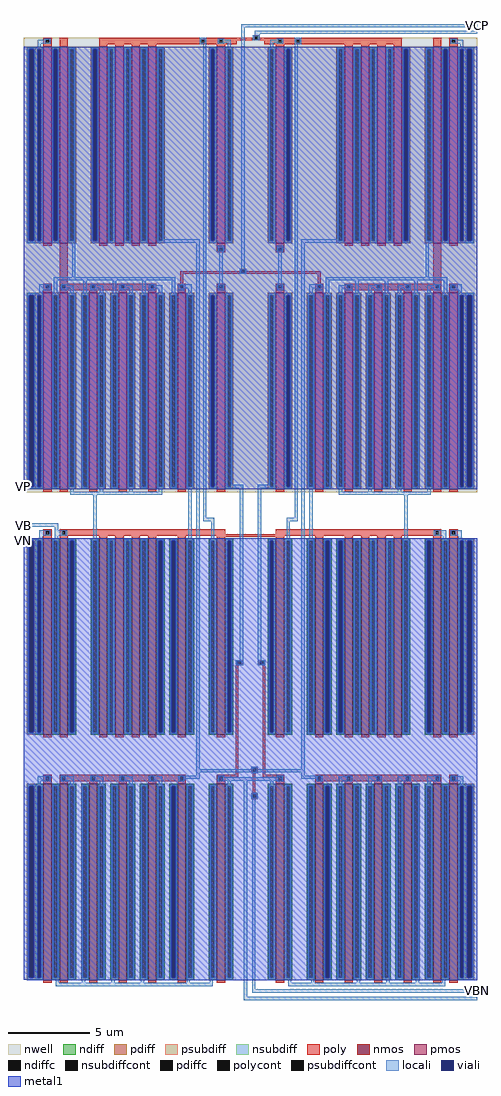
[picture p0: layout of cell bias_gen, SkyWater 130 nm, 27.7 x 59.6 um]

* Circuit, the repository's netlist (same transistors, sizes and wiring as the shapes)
* NGSPICE file created from bias_gen.ext - technology: sky130A

X0 a_4180_9000# VBP a_3980_9000# VP sky130_fd_pr__pfet_01v8 ad=3 pd=12.5 as=3 ps=12.5 w=12 l=0.5
X1 a_3420_6000# a_3580_6000# a_3580_6000# VP sky130_fd_pr__pfet_01v8 ad=3 pd=12.5 as=6 ps=25 w=12 l=0.5
X2 VN VB VB VN sky130_fd_pr__nfet_01v8 ad=6 pd=25 as=3 ps=12.5 w=12 l=0.5
X3 a_3780_3000# VB VN VN sky130_fd_pr__nfet_01v8 ad=3 pd=12.5 as=6 ps=25 w=12 l=0.5
X4 VN VN a_2940_0# VN sky130_fd_pr__nfet_01v8 ad=6 pd=25 as=3 ps=12.5 w=12 l=0.5
X5 VCP VCP a_100_6000# VP sky130_fd_pr__pfet_01v8 ad=6 pd=25 as=6 ps=25 w=12 l=0.5
X6 VN VB VBP VN sky130_fd_pr__nfet_01v8 ad=6 pd=25 as=6 ps=25 w=12 l=0.5
X7 VP VP VP VP sky130_fd_pr__pfet_01v8 ad=6 pd=25 as=72 ps=300 w=12 l=0.5
X8 a_3980_9000# VBP a_3780_9000# VP sky130_fd_pr__pfet_01v8 ad=3 pd=12.5 as=3 ps=12.5 w=12 l=0.5
X9 a_100_0# VN VN VN sky130_fd_pr__nfet_01v8 ad=3 pd=12.5 as=6 ps=25 w=12 l=0.5
X10 a_980_3000# VB a_780_3000# VN sky130_fd_pr__nfet_01v8 ad=3 pd=12.5 as=3 ps=12.5 w=12 l=0.5
X11 VN VB a_1180_3000# VN sky130_fd_pr__nfet_01v8 ad=6 pd=25 as=3 ps=12.5 w=12 l=0.5
X12 a_200_5970# a_200_5970# a_100_6000# VP sky130_fd_pr__pfet_01v8 ad=6 pd=25 as=6 ps=25 w=12 l=0.5
X13 a_100_6000# VP VP VP sky130_fd_pr__pfet_01v8 ad=3 pd=12.5 as=6 ps=25 w=12 l=0.5
X14 a_3420_6000# VCP VCP VP sky130_fd_pr__pfet_01v8 ad=6 pd=25 as=6 ps=25 w=12 l=0.5
X15 a_780_9000# VBP VP VP sky130_fd_pr__pfet_01v8 ad=3 pd=12.5 as=6 ps=25 w=12 l=0.5
X16 a_1180_9000# VBP a_980_9000# VP sky130_fd_pr__pfet_01v8 ad=3 pd=12.5 as=3 ps=12.5 w=12 l=0.5
X17 a_3420_6000# a_3580_6000# a_3580_6000# VP sky130_fd_pr__pfet_01v8 ad=6 pd=25 as=6 ps=25 w=12 l=0.5
X18 VCN VCN a_100_0# VN sky130_fd_pr__nfet_01v8 ad=6 pd=25 as=6 ps=25 w=12 l=0.5
X19 VB VB VN VN sky130_fd_pr__nfet_01v8 ad=3 pd=12.5 as=6 ps=25 w=12 l=0.5
X20 VBN VBN a_100_0# VN sky130_fd_pr__nfet_01v8 ad=6 pd=25 as=3 ps=12.5 w=12 l=0.5
X21 VP VP VP VP sky130_fd_pr__pfet_01v8 ad=3 pd=12.5 as=0 ps=0 w=12 l=0.5
X22 VCP VB VN VN sky130_fd_pr__nfet_01v8 ad=6 pd=25 as=6 ps=25 w=12 l=0.5
X23 a_100_0# VBN VN VN sky130_fd_pr__nfet_01v8 ad=6 pd=25 as=6 ps=25 w=12 l=0.5
X24 a_4180_3000# VB a_3980_3000# VN sky130_fd_pr__nfet_01v8 ad=3 pd=12.5 as=3 ps=12.5 w=12 l=0.5
X25 VN VBN a_2940_0# VN sky130_fd_pr__nfet_01v8 ad=6 pd=25 as=6 ps=25 w=12 l=0.5
X26 a_2940_0# VBN VBN VN sky130_fd_pr__nfet_01v8 ad=6 pd=25 as=6 ps=25 w=12 l=0.5
X27 VP VBP VBP VP sky130_fd_pr__pfet_01v8 ad=6 pd=25 as=6 ps=25 w=12 l=0.5
X28 a_200_5970# a_200_5970# a_100_6000# VP sky130_fd_pr__pfet_01v8 ad=6 pd=25 as=6 ps=25 w=12 l=0.5
X29 VP VBP a_4180_9000# VP sky130_fd_pr__pfet_01v8 ad=6 pd=25 as=3 ps=12.5 w=12 l=0.5
X30 VP VP a_3420_6000# VP sky130_fd_pr__pfet_01v8 ad=6 pd=25 as=3 ps=12.5 w=12 l=0.5
X31 a_2940_0# VCN VCN VN sky130_fd_pr__nfet_01v8 ad=6 pd=25 as=6 ps=25 w=12 l=0.5
X32 VP VBP VCN VP sky130_fd_pr__pfet_01v8 ad=6 pd=25 as=6 ps=25 w=12 l=0.5
X33 a_3420_6000# a_3580_6000# a_3580_6000# VP sky130_fd_pr__pfet_01v8 ad=6 pd=25 as=6 ps=25 w=12 l=0.5
X34 VBN VBN a_100_0# VN sky130_fd_pr__nfet_01v8 ad=6 pd=25 as=6 ps=25 w=12 l=0.5
X35 VBN VBN a_100_0# VN sky130_fd_pr__nfet_01v8 ad=6 pd=25 as=6 ps=25 w=12 l=0.5
X36 VB VN VN VN sky130_fd_pr__nfet_01v8 ad=3 pd=12.5 as=6 ps=25 w=12 l=0.5
X37 VN VB VCP VN sky130_fd_pr__nfet_01v8 ad=6 pd=25 as=6 ps=25 w=12 l=0.5
X38 a_3980_3000# VB a_3780_3000# VN sky130_fd_pr__nfet_01v8 ad=3 pd=12.5 as=3 ps=12.5 w=12 l=0.5
X39 a_2940_0# VBN VBN VN sky130_fd_pr__nfet_01v8 ad=6 pd=25 as=6 ps=25 w=12 l=0.5
X40 a_100_6000# a_200_5970# VP VP sky130_fd_pr__pfet_01v8 ad=6 pd=25 as=3 ps=12.5 w=12 l=0.5
X41 a_3780_9000# VBP VBN VP sky130_fd_pr__pfet_01v8 ad=3 pd=12.5 as=6 ps=25 w=12 l=0.5
X42 a_780_3000# VB a_200_5970# VN sky130_fd_pr__nfet_01v8 ad=3 pd=12.5 as=6 ps=25 w=12 l=0.5
X43 a_1180_3000# VB a_980_3000# VN sky130_fd_pr__nfet_01v8 ad=3 pd=12.5 as=3 ps=12.5 w=12 l=0.5
X44 VBN VBN a_100_0# VN sky130_fd_pr__nfet_01v8 ad=6 pd=25 as=6 ps=25 w=12 l=0.5
X45 VBP VBP VP VP sky130_fd_pr__pfet_01v8 ad=6 pd=25 as=6 ps=25 w=12 l=0.5
X46 a_2940_0# VBN VBN VN sky130_fd_pr__nfet_01v8 ad=3 pd=12.5 as=6 ps=25 w=12 l=0.5
X47 a_200_5970# a_200_5970# a_100_6000# VP sky130_fd_pr__pfet_01v8 ad=6 pd=25 as=3 ps=12.5 w=12 l=0.5
X48 a_3420_6000# a_3580_6000# a_3580_6000# VP sky130_fd_pr__pfet_01v8 ad=6 pd=25 as=6 ps=25 w=12 l=0.5
X49 a_2940_0# VBN VBN VN sky130_fd_pr__nfet_01v8 ad=6 pd=25 as=6 ps=25 w=12 l=0.5
X50 a_980_9000# VBP a_780_9000# VP sky130_fd_pr__pfet_01v8 ad=3 pd=12.5 as=3 ps=12.5 w=12 l=0.5
X51 VBN VBP a_1180_9000# VP sky130_fd_pr__pfet_01v8 ad=6 pd=25 as=3 ps=12.5 w=12 l=0.5
X52 VN VN VB VN sky130_fd_pr__nfet_01v8 ad=6 pd=25 as=3 ps=12.5 w=12 l=0.5
X53 VCN VBP VP VP sky130_fd_pr__pfet_01v8 ad=6 pd=25 as=6 ps=25 w=12 l=0.5
X54 VBP VB VN VN sky130_fd_pr__nfet_01v8 ad=6 pd=25 as=6 ps=25 w=12 l=0.5
X55 a_200_5970# a_200_5970# a_100_6000# VP sky130_fd_pr__pfet_01v8 ad=6 pd=25 as=6 ps=25 w=12 l=0.5
X56 VP a_3580_6000# a_3420_6000# VP sky130_fd_pr__pfet_01v8 ad=3 pd=12.5 as=6 ps=25 w=12 l=0.5
X57 a_3580_6000# VB a_4180_3000# VN sky130_fd_pr__nfet_01v8 ad=6 pd=25 as=3 ps=12.5 w=12 l=0.5

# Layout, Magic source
magic
tech sky130A
<< nwell >>
rect -120 2980 2650 5755
<< nmos >>
rect 0 1500 50 2700
rect 100 1500 150 2700
rect 340 1500 390 2700
rect 440 1500 490 2700
rect 540 1500 590 2700
rect 640 1500 690 2700
rect 820 1500 870 2700
rect 1060 1500 1110 2700
rect 0 0 50 1200
rect 100 0 150 1200
rect 280 0 330 1200
rect 460 0 510 1200
rect 640 0 690 1200
rect 820 0 870 1200
rect 1060 0 1110 1200
rect 1420 1500 1470 2700
rect 1660 1500 1710 2700
rect 1840 1500 1890 2700
rect 1940 1500 1990 2700
rect 2040 1500 2090 2700
rect 2140 1500 2190 2700
rect 2380 1500 2430 2700
rect 2480 1500 2530 2700
rect 1420 0 1470 1200
rect 1660 0 1710 1200
rect 1840 0 1890 1200
rect 2020 0 2070 1200
rect 2200 0 2250 1200
rect 2380 0 2430 1200
rect 2480 0 2530 1200
<< pmos >>
rect 0 4500 50 5700
rect 100 4500 150 5700
rect 340 4500 390 5700
rect 440 4500 490 5700
rect 540 4500 590 5700
rect 640 4500 690 5700
rect 1060 4500 1110 5700
rect 1420 4500 1470 5700
rect 1840 4500 1890 5700
rect 1940 4500 1990 5700
rect 2040 4500 2090 5700
rect 2140 4500 2190 5700
rect 2380 4500 2430 5700
rect 2480 4500 2530 5700
rect 0 3000 50 4200
rect 100 3000 150 4200
rect 280 3000 330 4200
rect 460 3000 510 4200
rect 640 3000 690 4200
rect 820 3000 870 4200
rect 1060 3000 1110 4200
rect 1420 3000 1470 4200
rect 1660 3000 1710 4200
rect 1840 3000 1890 4200
rect 2020 3000 2070 4200
rect 2200 3000 2250 4200
rect 2380 3000 2430 4200
rect 2480 3000 2530 4200
<< ndiff >>
rect -50 2685 0 2700
rect -50 1515 -35 2685
rect -15 1515 0 2685
rect -50 1500 0 1515
rect 50 2685 100 2700
rect 50 1515 65 2685
rect 85 1515 100 2685
rect 50 1500 100 1515
rect 150 2685 200 2700
rect 150 1515 165 2685
rect 185 1515 200 2685
rect 150 1500 200 1515
rect 290 2685 340 2700
rect 290 1515 305 2685
rect 325 1515 340 2685
rect 290 1500 340 1515
rect 390 2685 440 2700
rect 390 1515 405 2685
rect 425 1515 440 2685
rect 390 1500 440 1515
rect 490 2685 540 2700
rect 490 1515 505 2685
rect 525 1515 540 2685
rect 490 1500 540 1515
rect 590 2685 640 2700
rect 590 1515 605 2685
rect 625 1515 640 2685
rect 590 1500 640 1515
rect 690 2685 740 2700
rect 690 1515 705 2685
rect 725 1515 740 2685
rect 690 1500 740 1515
rect 770 2685 820 2700
rect 770 1515 785 2685
rect 805 1515 820 2685
rect 770 1500 820 1515
rect 870 2685 920 2700
rect 870 1515 885 2685
rect 905 1515 920 2685
rect 870 1500 920 1515
rect 1010 2685 1060 2700
rect 1010 1515 1025 2685
rect 1045 1515 1060 2685
rect 1010 1500 1060 1515
rect 1110 2685 1160 2700
rect 1110 1515 1125 2685
rect 1145 1515 1160 2685
rect 1370 2685 1420 2700
rect 1110 1500 1160 1515
rect -50 1185 0 1200
rect -50 15 -35 1185
rect -15 15 0 1185
rect -50 0 0 15
rect 50 1185 100 1200
rect 50 15 65 1185
rect 85 15 100 1185
rect 50 0 100 15
rect 150 1185 200 1200
rect 150 15 165 1185
rect 185 15 200 1185
rect 150 0 200 15
rect 230 1185 280 1200
rect 230 15 245 1185
rect 265 15 280 1185
rect 230 0 280 15
rect 330 1185 380 1200
rect 330 15 345 1185
rect 365 15 380 1185
rect 330 0 380 15
rect 410 1185 460 1200
rect 410 15 425 1185
rect 445 15 460 1185
rect 410 0 460 15
rect 510 1185 560 1200
rect 510 15 525 1185
rect 545 15 560 1185
rect 510 0 560 15
rect 590 1185 640 1200
rect 590 15 605 1185
rect 625 15 640 1185
rect 590 0 640 15
rect 690 1185 740 1200
rect 690 15 705 1185
rect 725 15 740 1185
rect 690 0 740 15
rect 770 1185 820 1200
rect 770 15 785 1185
rect 805 15 820 1185
rect 770 0 820 15
rect 870 1185 920 1200
rect 870 15 885 1185
rect 905 15 920 1185
rect 870 0 920 15
rect 1010 1185 1060 1200
rect 1010 15 1025 1185
rect 1045 15 1060 1185
rect 1010 0 1060 15
rect 1110 1185 1160 1200
rect 1110 15 1125 1185
rect 1145 15 1160 1185
rect 1370 1515 1385 2685
rect 1405 1515 1420 2685
rect 1370 1500 1420 1515
rect 1470 2685 1520 2700
rect 1470 1515 1485 2685
rect 1505 1515 1520 2685
rect 1470 1500 1520 1515
rect 1610 2685 1660 2700
rect 1610 1515 1625 2685
rect 1645 1515 1660 2685
rect 1610 1500 1660 1515
rect 1710 2685 1760 2700
rect 1710 1515 1725 2685
rect 1745 1515 1760 2685
rect 1710 1500 1760 1515
rect 1790 2685 1840 2700
rect 1790 1515 1805 2685
rect 1825 1515 1840 2685
rect 1790 1500 1840 1515
rect 1890 2685 1940 2700
rect 1890 1515 1905 2685
rect 1925 1515 1940 2685
rect 1890 1500 1940 1515
rect 1990 2685 2040 2700
rect 1990 1515 2005 2685
rect 2025 1515 2040 2685
rect 1990 1500 2040 1515
rect 2090 2685 2140 2700
rect 2090 1515 2105 2685
rect 2125 1515 2140 2685
rect 2090 1500 2140 1515
rect 2190 2685 2240 2700
rect 2190 1515 2205 2685
rect 2225 1515 2240 2685
rect 2190 1500 2240 1515
rect 2330 2685 2380 2700
rect 2330 1515 2345 2685
rect 2365 1515 2380 2685
rect 2330 1500 2380 1515
rect 2430 2685 2480 2700
rect 2430 1515 2445 2685
rect 2465 1515 2480 2685
rect 2430 1500 2480 1515
rect 2530 2685 2580 2700
rect 2530 1515 2545 2685
rect 2565 1515 2580 2685
rect 2530 1500 2580 1515
rect 1370 1185 1420 1200
rect 1110 0 1160 15
rect 1370 15 1385 1185
rect 1405 15 1420 1185
rect 1370 0 1420 15
rect 1470 1185 1520 1200
rect 1470 15 1485 1185
rect 1505 15 1520 1185
rect 1470 0 1520 15
rect 1610 1185 1660 1200
rect 1610 15 1625 1185
rect 1645 15 1660 1185
rect 1610 0 1660 15
rect 1710 1185 1760 1200
rect 1710 15 1725 1185
rect 1745 15 1760 1185
rect 1710 0 1760 15
rect 1790 1185 1840 1200
rect 1790 15 1805 1185
rect 1825 15 1840 1185
rect 1790 0 1840 15
rect 1890 1185 1940 1200
rect 1890 15 1905 1185
rect 1925 15 1940 1185
rect 1890 0 1940 15
rect 1970 1185 2020 1200
rect 1970 15 1985 1185
rect 2005 15 2020 1185
rect 1970 0 2020 15
rect 2070 1185 2120 1200
rect 2070 15 2085 1185
rect 2105 15 2120 1185
rect 2070 0 2120 15
rect 2150 1185 2200 1200
rect 2150 15 2165 1185
rect 2185 15 2200 1185
rect 2150 0 2200 15
rect 2250 1185 2300 1200
rect 2250 15 2265 1185
rect 2285 15 2300 1185
rect 2250 0 2300 15
rect 2330 1185 2380 1200
rect 2330 15 2345 1185
rect 2365 15 2380 1185
rect 2330 0 2380 15
rect 2430 1185 2480 1200
rect 2430 15 2445 1185
rect 2465 15 2480 1185
rect 2430 0 2480 15
rect 2530 1185 2580 1200
rect 2530 15 2545 1185
rect 2565 15 2580 1185
rect 2530 0 2580 15
<< pdiff >>
rect -50 5685 0 5700
rect -50 4515 -35 5685
rect -15 4515 0 5685
rect -50 4500 0 4515
rect 50 5685 100 5700
rect 50 4515 65 5685
rect 85 4515 100 5685
rect 50 4500 100 4515
rect 150 5685 200 5700
rect 150 4515 165 5685
rect 185 4515 200 5685
rect 150 4500 200 4515
rect 290 5685 340 5700
rect 290 4515 305 5685
rect 325 4515 340 5685
rect 290 4500 340 4515
rect 390 5685 440 5700
rect 390 4515 405 5685
rect 425 4515 440 5685
rect 390 4500 440 4515
rect 490 5685 540 5700
rect 490 4515 505 5685
rect 525 4515 540 5685
rect 490 4500 540 4515
rect 590 5685 640 5700
rect 590 4515 605 5685
rect 625 4515 640 5685
rect 590 4500 640 4515
rect 690 5685 740 5700
rect 690 4515 705 5685
rect 725 4515 740 5685
rect 690 4500 740 4515
rect 1010 5685 1060 5700
rect 1010 4515 1025 5685
rect 1045 4515 1060 5685
rect 1010 4500 1060 4515
rect 1110 5685 1160 5700
rect 1110 4515 1125 5685
rect 1145 4515 1160 5685
rect 1110 4500 1160 4515
rect 1370 5685 1420 5700
rect 1370 4515 1385 5685
rect 1405 4515 1420 5685
rect 1370 4500 1420 4515
rect 1470 5685 1520 5700
rect 1470 4515 1485 5685
rect 1505 4515 1520 5685
rect 1470 4500 1520 4515
rect 1790 5685 1840 5700
rect 1790 4515 1805 5685
rect 1825 4515 1840 5685
rect 1790 4500 1840 4515
rect 1890 5685 1940 5700
rect 1890 4515 1905 5685
rect 1925 4515 1940 5685
rect 1890 4500 1940 4515
rect 1990 5685 2040 5700
rect 1990 4515 2005 5685
rect 2025 4515 2040 5685
rect 1990 4500 2040 4515
rect 2090 5685 2140 5700
rect 2090 4515 2105 5685
rect 2125 4515 2140 5685
rect 2090 4500 2140 4515
rect 2190 5685 2240 5700
rect 2190 4515 2205 5685
rect 2225 4515 2240 5685
rect 2190 4500 2240 4515
rect 2330 5685 2380 5700
rect 2330 4515 2345 5685
rect 2365 4515 2380 5685
rect 2330 4500 2380 4515
rect 2430 5685 2480 5700
rect 2430 4515 2445 5685
rect 2465 4515 2480 5685
rect 2430 4500 2480 4515
rect 2530 5685 2580 5700
rect 2530 4515 2545 5685
rect 2565 4515 2580 5685
rect 2530 4500 2580 4515
rect -50 4185 0 4200
rect -50 3015 -35 4185
rect -15 3015 0 4185
rect -50 3000 0 3015
rect 50 4185 100 4200
rect 50 3015 65 4185
rect 85 3015 100 4185
rect 50 3000 100 3015
rect 150 4185 200 4200
rect 150 3015 165 4185
rect 185 3015 200 4185
rect 150 3000 200 3015
rect 230 4185 280 4200
rect 230 3015 245 4185
rect 265 3015 280 4185
rect 230 3000 280 3015
rect 330 4185 380 4200
rect 330 3015 345 4185
rect 365 3015 380 4185
rect 330 3000 380 3015
rect 410 4185 460 4200
rect 410 3015 425 4185
rect 445 3015 460 4185
rect 410 3000 460 3015
rect 510 4185 560 4200
rect 510 3015 525 4185
rect 545 3015 560 4185
rect 510 3000 560 3015
rect 590 4185 640 4200
rect 590 3015 605 4185
rect 625 3015 640 4185
rect 590 3000 640 3015
rect 690 4185 740 4200
rect 690 3015 705 4185
rect 725 3015 740 4185
rect 690 3000 740 3015
rect 770 4185 820 4200
rect 770 3015 785 4185
rect 805 3015 820 4185
rect 770 3000 820 3015
rect 870 4185 920 4200
rect 870 3015 885 4185
rect 905 3015 920 4185
rect 870 3000 920 3015
rect 1010 4185 1060 4200
rect 1010 3015 1025 4185
rect 1045 3015 1060 4185
rect 1010 3000 1060 3015
rect 1110 4185 1160 4200
rect 1110 3015 1125 4185
rect 1145 3015 1160 4185
rect 1110 3000 1160 3015
rect 1370 4185 1420 4200
rect 1370 3015 1385 4185
rect 1405 3015 1420 4185
rect 1370 3000 1420 3015
rect 1470 4185 1520 4200
rect 1470 3015 1485 4185
rect 1505 3015 1520 4185
rect 1470 3000 1520 3015
rect 1610 4185 1660 4200
rect 1610 3015 1625 4185
rect 1645 3015 1660 4185
rect 1610 3000 1660 3015
rect 1710 4185 1760 4200
rect 1710 3015 1725 4185
rect 1745 3015 1760 4185
rect 1710 3000 1760 3015
rect 1790 4185 1840 4200
rect 1790 3015 1805 4185
rect 1825 3015 1840 4185
rect 1790 3000 1840 3015
rect 1890 4185 1940 4200
rect 1890 3015 1905 4185
rect 1925 3015 1940 4185
rect 1890 3000 1940 3015
rect 1970 4185 2020 4200
rect 1970 3015 1985 4185
rect 2005 3015 2020 4185
rect 1970 3000 2020 3015
rect 2070 4185 2120 4200
rect 2070 3015 2085 4185
rect 2105 3015 2120 4185
rect 2070 3000 2120 3015
rect 2150 4185 2200 4200
rect 2150 3015 2165 4185
rect 2185 3015 2200 4185
rect 2150 3000 2200 3015
rect 2250 4185 2300 4200
rect 2250 3015 2265 4185
rect 2285 3015 2300 4185
rect 2250 3000 2300 3015
rect 2330 4185 2380 4200
rect 2330 3015 2345 4185
rect 2365 3015 2380 4185
rect 2330 3000 2380 3015
rect 2430 4185 2480 4200
rect 2430 3015 2445 4185
rect 2465 3015 2480 4185
rect 2430 3000 2480 3015
rect 2530 4185 2580 4200
rect 2530 3015 2545 4185
rect 2565 3015 2580 4185
rect 2530 3000 2580 3015
<< ndiffc >>
rect -35 1515 -15 2685
rect 65 1515 85 2685
rect 165 1515 185 2685
rect 305 1515 325 2685
rect 405 1515 425 2685
rect 505 1515 525 2685
rect 605 1515 625 2685
rect 705 1515 725 2685
rect 785 1515 805 2685
rect 885 1515 905 2685
rect 1025 1515 1045 2685
rect 1125 1515 1145 2685
rect -35 15 -15 1185
rect 65 15 85 1185
rect 165 15 185 1185
rect 245 15 265 1185
rect 345 15 365 1185
rect 425 15 445 1185
rect 525 15 545 1185
rect 605 15 625 1185
rect 705 15 725 1185
rect 785 15 805 1185
rect 885 15 905 1185
rect 1025 15 1045 1185
rect 1125 15 1145 1185
rect 1385 1515 1405 2685
rect 1485 1515 1505 2685
rect 1625 1515 1645 2685
rect 1725 1515 1745 2685
rect 1805 1515 1825 2685
rect 1905 1515 1925 2685
rect 2005 1515 2025 2685
rect 2105 1515 2125 2685
rect 2205 1515 2225 2685
rect 2345 1515 2365 2685
rect 2445 1515 2465 2685
rect 2545 1515 2565 2685
rect 1385 15 1405 1185
rect 1485 15 1505 1185
rect 1625 15 1645 1185
rect 1725 15 1745 1185
rect 1805 15 1825 1185
rect 1905 15 1925 1185
rect 1985 15 2005 1185
rect 2085 15 2105 1185
rect 2165 15 2185 1185
rect 2265 15 2285 1185
rect 2345 15 2365 1185
rect 2445 15 2465 1185
rect 2545 15 2565 1185
<< pdiffc >>
rect -35 4515 -15 5685
rect 65 4515 85 5685
rect 165 4515 185 5685
rect 305 4515 325 5685
rect 405 4515 425 5685
rect 505 4515 525 5685
rect 605 4515 625 5685
rect 705 4515 725 5685
rect 1025 4515 1045 5685
rect 1125 4515 1145 5685
rect 1385 4515 1405 5685
rect 1485 4515 1505 5685
rect 1805 4515 1825 5685
rect 1905 4515 1925 5685
rect 2005 4515 2025 5685
rect 2105 4515 2125 5685
rect 2205 4515 2225 5685
rect 2345 4515 2365 5685
rect 2445 4515 2465 5685
rect 2545 4515 2565 5685
rect -35 3015 -15 4185
rect 65 3015 85 4185
rect 165 3015 185 4185
rect 245 3015 265 4185
rect 345 3015 365 4185
rect 425 3015 445 4185
rect 525 3015 545 4185
rect 605 3015 625 4185
rect 705 3015 725 4185
rect 785 3015 805 4185
rect 885 3015 905 4185
rect 1025 3015 1045 4185
rect 1125 3015 1145 4185
rect 1385 3015 1405 4185
rect 1485 3015 1505 4185
rect 1625 3015 1645 4185
rect 1725 3015 1745 4185
rect 1805 3015 1825 4185
rect 1905 3015 1925 4185
rect 1985 3015 2005 4185
rect 2085 3015 2105 4185
rect 2165 3015 2185 4185
rect 2265 3015 2285 4185
rect 2345 3015 2365 4185
rect 2445 3015 2465 4185
rect 2545 3015 2565 4185
<< psubdiff >>
rect -100 2685 -50 2700
rect -100 1515 -85 2685
rect -60 1515 -50 2685
rect -100 1500 -50 1515
rect -100 1185 -50 1200
rect -100 15 -85 1185
rect -60 15 -50 1185
rect -100 0 -50 15
rect 2580 2685 2630 2700
rect 2580 1515 2590 2685
rect 2615 1515 2630 2685
rect 2580 1500 2630 1515
rect 2580 1185 2630 1200
rect 2580 15 2590 1185
rect 2615 15 2630 1185
rect 2580 0 2630 15
<< nsubdiff >>
rect -100 5685 -50 5700
rect -100 4515 -85 5685
rect -60 4515 -50 5685
rect -100 4500 -50 4515
rect 2580 5685 2630 5700
rect 2580 4515 2590 5685
rect 2615 4515 2630 5685
rect 2580 4500 2630 4515
rect -100 4185 -50 4200
rect -100 3015 -85 4185
rect -60 3015 -50 4185
rect -100 3000 -50 3015
rect 2580 4185 2630 4200
rect 2580 3015 2590 4185
rect 2615 3015 2630 4185
rect 2580 3000 2630 3015
<< psubdiffcont >>
rect -85 1515 -60 2685
rect -85 15 -60 1185
rect 2590 1515 2615 2685
rect 2590 15 2615 1185
<< nsubdiffcont >>
rect -85 4515 -60 5685
rect 2590 4515 2615 5685
rect -85 3015 -60 4185
rect 2590 3015 2615 4185
<< poly >>
rect 1280 5765 1320 5770
rect 1280 5755 1290 5765
rect 0 5745 50 5755
rect 0 5725 15 5745
rect 35 5725 50 5745
rect 0 5700 50 5725
rect 100 5700 150 5755
rect 340 5745 1290 5755
rect 1310 5755 1320 5765
rect 1310 5745 2190 5755
rect 340 5725 965 5745
rect 985 5725 1075 5745
rect 1095 5740 1435 5745
rect 1095 5725 1180 5740
rect 340 5715 1180 5725
rect 1350 5725 1435 5740
rect 1455 5725 1545 5745
rect 1565 5725 2190 5745
rect 1350 5715 2190 5725
rect 340 5700 390 5715
rect 440 5700 490 5715
rect 540 5700 590 5715
rect 640 5700 690 5715
rect 1060 5700 1110 5715
rect 1420 5700 1470 5715
rect 1840 5700 1890 5715
rect 1940 5700 1990 5715
rect 2040 5700 2090 5715
rect 2140 5700 2190 5715
rect 2380 5700 2430 5755
rect 2480 5745 2530 5755
rect 2480 5725 2495 5745
rect 2515 5725 2530 5745
rect 2480 5700 2530 5725
rect 0 4485 50 4500
rect 100 4255 150 4500
rect 340 4485 390 4500
rect 440 4485 490 4500
rect 540 4485 590 4500
rect 640 4485 690 4500
rect 1060 4475 1110 4500
rect 1060 4455 1075 4475
rect 1095 4455 1110 4475
rect 1060 4445 1110 4455
rect 1420 4475 1470 4500
rect 1840 4485 1890 4500
rect 1940 4485 1990 4500
rect 2040 4485 2090 4500
rect 2140 4485 2190 4500
rect 1420 4455 1435 4475
rect 1455 4455 1470 4475
rect 1420 4445 1470 4455
rect 1200 4340 1240 4345
rect 1200 4330 1210 4340
rect 835 4320 1210 4330
rect 1230 4330 1240 4340
rect 1230 4320 1695 4330
rect 835 4315 1695 4320
rect 835 4255 855 4315
rect 1675 4255 1695 4315
rect 2380 4255 2430 4500
rect 2480 4485 2530 4500
rect 0 4245 50 4255
rect 0 4225 15 4245
rect 35 4225 50 4245
rect 0 4200 50 4225
rect 100 4245 690 4255
rect 100 4225 115 4245
rect 135 4225 295 4245
rect 315 4225 475 4245
rect 495 4225 655 4245
rect 675 4225 690 4245
rect 100 4215 690 4225
rect 100 4200 150 4215
rect 280 4200 330 4215
rect 460 4200 510 4215
rect 640 4200 690 4215
rect 820 4245 870 4255
rect 820 4225 835 4245
rect 855 4225 870 4245
rect 820 4200 870 4225
rect 1060 4245 1110 4255
rect 1060 4225 1075 4245
rect 1095 4225 1110 4245
rect 1060 4200 1110 4225
rect 1420 4245 1470 4255
rect 1420 4225 1435 4245
rect 1455 4225 1470 4245
rect 1420 4200 1470 4225
rect 1660 4245 1710 4255
rect 1660 4225 1675 4245
rect 1695 4225 1710 4245
rect 1660 4200 1710 4225
rect 1840 4245 2430 4255
rect 1840 4225 1855 4245
rect 1875 4225 2035 4245
rect 2055 4225 2215 4245
rect 2235 4225 2395 4245
rect 2415 4225 2430 4245
rect 1840 4215 2430 4225
rect 1840 4200 1890 4215
rect 2020 4200 2070 4215
rect 2200 4200 2250 4215
rect 2380 4200 2430 4215
rect 2480 4245 2530 4255
rect 2480 4225 2495 4245
rect 2515 4225 2530 4245
rect 2480 4200 2530 4225
rect 0 2985 50 3000
rect 100 2985 150 3000
rect 280 2985 330 3000
rect 460 2985 510 3000
rect 640 2985 690 3000
rect 820 2985 870 3000
rect 1060 2985 1110 3000
rect 1420 2985 1470 3000
rect 1660 2985 1710 3000
rect 1840 2985 1890 3000
rect 2020 2985 2070 3000
rect 2200 2985 2250 3000
rect 2380 2985 2430 3000
rect 2480 2985 2530 3000
rect 0 2745 50 2755
rect 0 2720 15 2745
rect 35 2720 50 2745
rect 0 2700 50 2720
rect 100 2745 1110 2755
rect 100 2720 115 2745
rect 135 2725 1110 2745
rect 1420 2745 2430 2755
rect 1420 2725 2395 2745
rect 135 2720 2395 2725
rect 2415 2720 2430 2745
rect 100 2715 2430 2720
rect 100 2700 150 2715
rect 340 2700 390 2715
rect 440 2700 490 2715
rect 540 2700 590 2715
rect 640 2700 690 2715
rect 820 2700 870 2715
rect 1060 2710 1470 2715
rect 1060 2700 1110 2710
rect 1420 2700 1470 2710
rect 1660 2700 1710 2715
rect 1840 2700 1890 2715
rect 1940 2700 1990 2715
rect 2040 2700 2090 2715
rect 2140 2700 2190 2715
rect 2380 2700 2430 2715
rect 2480 2745 2530 2755
rect 2480 2720 2495 2745
rect 2515 2720 2530 2745
rect 2480 2700 2530 2720
rect 1175 1950 1220 1955
rect 1175 1930 1185 1950
rect 1210 1930 1220 1950
rect 1175 1925 1220 1930
rect 1310 1950 1355 1955
rect 1310 1930 1320 1950
rect 1345 1930 1355 1950
rect 1310 1925 1355 1930
rect 0 1485 50 1500
rect 100 1485 150 1500
rect 340 1485 390 1500
rect 440 1485 490 1500
rect 540 1485 590 1500
rect 640 1485 690 1500
rect 820 1485 870 1500
rect 1060 1485 1110 1500
rect 1175 1255 1190 1925
rect 1270 1295 1310 1305
rect 1270 1275 1280 1295
rect 1300 1275 1310 1295
rect 1270 1265 1310 1275
rect 0 1245 50 1255
rect 0 1220 15 1245
rect 35 1220 50 1245
rect 0 1200 50 1220
rect 100 1245 870 1255
rect 100 1220 115 1245
rect 135 1220 295 1245
rect 315 1220 475 1245
rect 495 1220 655 1245
rect 675 1220 835 1245
rect 855 1220 870 1245
rect 100 1215 870 1220
rect 100 1200 150 1215
rect 280 1200 330 1215
rect 460 1200 510 1215
rect 640 1200 690 1215
rect 820 1200 870 1215
rect 1060 1245 1190 1255
rect 1060 1220 1075 1245
rect 1095 1240 1190 1245
rect 1095 1220 1110 1240
rect 1060 1200 1110 1220
rect 1280 1145 1295 1265
rect 1340 1255 1355 1925
rect 1420 1485 1470 1500
rect 1660 1485 1710 1500
rect 1840 1485 1890 1500
rect 1940 1485 1990 1500
rect 2040 1485 2090 1500
rect 2140 1485 2190 1500
rect 2380 1485 2430 1500
rect 2480 1485 2530 1500
rect 1340 1245 1470 1255
rect 1340 1240 1435 1245
rect 1420 1220 1435 1240
rect 1455 1220 1470 1245
rect 1420 1200 1470 1220
rect 1660 1245 2430 1255
rect 1660 1220 1675 1245
rect 1695 1220 1855 1245
rect 1875 1220 2035 1245
rect 2055 1220 2215 1245
rect 2235 1220 2395 1245
rect 2415 1220 2430 1245
rect 1660 1215 2430 1220
rect 1660 1200 1710 1215
rect 1840 1200 1890 1215
rect 2020 1200 2070 1215
rect 2200 1200 2250 1215
rect 2380 1200 2430 1215
rect 2480 1245 2530 1255
rect 2480 1220 2495 1245
rect 2515 1220 2530 1245
rect 2480 1200 2530 1220
rect 1270 1135 1310 1145
rect 1270 1115 1280 1135
rect 1300 1115 1310 1135
rect 1270 1105 1310 1115
rect 0 -15 50 0
rect 100 -15 150 0
rect 280 -15 330 0
rect 460 -15 510 0
rect 640 -15 690 0
rect 820 -15 870 0
rect 1060 -15 1110 0
rect 1420 -15 1470 0
rect 1660 -15 1710 0
rect 1840 -15 1890 0
rect 2020 -15 2070 0
rect 2200 -15 2250 0
rect 2380 -15 2430 0
rect 2480 -15 2530 0
<< polycont >>
rect 15 5725 35 5745
rect 1290 5745 1310 5765
rect 965 5725 985 5745
rect 1075 5725 1095 5745
rect 1435 5725 1455 5745
rect 1545 5725 1565 5745
rect 2495 5725 2515 5745
rect 1075 4455 1095 4475
rect 1435 4455 1455 4475
rect 1210 4320 1230 4340
rect 15 4225 35 4245
rect 115 4225 135 4245
rect 295 4225 315 4245
rect 475 4225 495 4245
rect 655 4225 675 4245
rect 835 4225 855 4245
rect 1075 4225 1095 4245
rect 1435 4225 1455 4245
rect 1675 4225 1695 4245
rect 1855 4225 1875 4245
rect 2035 4225 2055 4245
rect 2215 4225 2235 4245
rect 2395 4225 2415 4245
rect 2495 4225 2515 4245
rect 15 2720 35 2745
rect 115 2720 135 2745
rect 2395 2720 2415 2745
rect 2495 2720 2515 2745
rect 1185 1930 1210 1950
rect 1320 1930 1345 1950
rect 1280 1275 1300 1295
rect 15 1220 35 1245
rect 115 1220 135 1245
rect 295 1220 315 1245
rect 475 1220 495 1245
rect 655 1220 675 1245
rect 835 1220 855 1245
rect 1075 1220 1095 1245
rect 1435 1220 1455 1245
rect 1675 1220 1695 1245
rect 1855 1220 1875 1245
rect 2035 1220 2055 1245
rect 2215 1220 2235 1245
rect 2395 1220 2415 1245
rect 2495 1220 2515 1245
rect 1280 1115 1300 1135
<< locali >>
rect 1210 5820 2650 5840
rect 5 5745 45 5750
rect -35 5725 15 5745
rect 35 5725 45 5745
rect -35 5720 45 5725
rect 955 5745 995 5755
rect 955 5725 965 5745
rect 985 5725 995 5745
rect -35 5695 -15 5720
rect 955 5715 995 5725
rect 1065 5745 1105 5750
rect 1065 5725 1075 5745
rect 1095 5725 1145 5745
rect 1065 5720 1105 5725
rect -95 5685 -5 5695
rect -95 4515 -85 5685
rect -60 4515 -35 5685
rect -15 4515 -5 5685
rect -95 4505 -5 4515
rect 55 5685 95 5695
rect 55 4515 65 5685
rect 85 4515 95 5685
rect 55 4505 95 4515
rect 155 5685 195 5695
rect 155 4515 165 5685
rect 185 4515 195 5685
rect 155 4505 195 4515
rect 295 5685 335 5695
rect 295 4515 305 5685
rect 325 4515 335 5685
rect 295 4505 335 4515
rect 395 5685 435 5695
rect 395 4515 405 5685
rect 425 4515 435 5685
rect 395 4505 435 4515
rect 495 5685 535 5695
rect 495 4515 505 5685
rect 525 4515 535 5685
rect 495 4505 535 4515
rect 595 5685 635 5695
rect 595 4515 605 5685
rect 625 4515 635 5685
rect 595 4505 635 4515
rect 695 5685 735 5695
rect 695 4515 705 5685
rect 725 4525 735 5685
rect 725 4515 955 4525
rect 695 4505 955 4515
rect 175 4295 195 4505
rect 65 4275 805 4295
rect -25 4245 45 4250
rect -25 4225 15 4245
rect 35 4225 45 4245
rect -25 4215 45 4225
rect -25 4195 -5 4215
rect 65 4195 85 4275
rect 105 4245 145 4250
rect 105 4225 115 4245
rect 135 4225 185 4245
rect 105 4215 145 4225
rect 165 4195 185 4225
rect 245 4195 265 4275
rect 285 4245 325 4250
rect 285 4225 295 4245
rect 315 4225 365 4245
rect 285 4215 325 4225
rect 345 4195 365 4225
rect 425 4195 445 4275
rect 465 4245 505 4250
rect 465 4225 475 4245
rect 495 4225 545 4245
rect 465 4215 505 4225
rect 525 4195 545 4225
rect 605 4195 625 4275
rect 645 4245 685 4250
rect 645 4225 655 4245
rect 675 4225 725 4245
rect 645 4215 685 4225
rect 705 4195 725 4225
rect 785 4195 805 4275
rect 825 4245 905 4250
rect 825 4225 835 4245
rect 855 4225 905 4245
rect 825 4215 865 4225
rect 885 4195 905 4225
rect -95 4185 -5 4195
rect -95 3015 -85 4185
rect -60 3015 -35 4185
rect -15 3015 -5 4185
rect -95 3005 -5 3015
rect 55 4185 95 4195
rect 55 3015 65 4185
rect 85 3015 95 4185
rect 55 3005 95 3015
rect 155 4185 195 4195
rect 155 3015 165 4185
rect 185 3015 195 4185
rect 155 3005 195 3015
rect 235 4185 275 4195
rect 235 3015 245 4185
rect 265 3015 275 4185
rect 235 3005 275 3015
rect 335 4185 375 4195
rect 335 3015 345 4185
rect 365 3015 375 4185
rect 335 3005 375 3015
rect 415 4185 455 4195
rect 415 3015 425 4185
rect 445 3015 455 4185
rect 415 3005 455 3015
rect 515 4185 555 4195
rect 515 3015 525 4185
rect 545 3015 555 4185
rect 515 3005 555 3015
rect 595 4185 635 4195
rect 595 3015 605 4185
rect 625 3015 635 4185
rect 595 3005 635 3015
rect 695 4185 735 4195
rect 695 3015 705 4185
rect 725 3015 735 4185
rect 695 3005 735 3015
rect 775 4185 815 4195
rect 775 3015 785 4185
rect 805 3015 815 4185
rect 775 3005 815 3015
rect 875 4185 915 4195
rect 875 3015 885 4185
rect 905 3015 915 4185
rect 875 3005 915 3015
rect 165 2985 185 3005
rect 345 2985 365 3005
rect 525 2985 545 3005
rect 705 2985 725 3005
rect 165 2965 725 2985
rect -120 2770 90 2790
rect 70 2750 90 2770
rect -25 2745 45 2750
rect -25 2720 15 2745
rect 35 2720 45 2745
rect -25 2715 45 2720
rect 70 2745 145 2750
rect 70 2720 115 2745
rect 135 2720 145 2745
rect 70 2715 145 2720
rect -25 2695 -5 2715
rect 70 2695 90 2715
rect 305 2695 325 2965
rect 885 2695 905 3005
rect -95 2685 -5 2695
rect -95 1515 -85 2685
rect -60 1515 -35 2685
rect -15 1515 -5 2685
rect -95 1505 -5 1515
rect 55 2685 95 2695
rect 55 1515 65 2685
rect 85 1515 95 2685
rect 55 1505 95 1515
rect 155 2685 195 2695
rect 155 1515 165 2685
rect 185 1515 195 2685
rect 155 1505 195 1515
rect 295 2685 335 2695
rect 295 1515 305 2685
rect 325 1515 335 2685
rect 295 1505 335 1515
rect 395 2685 435 2695
rect 395 1515 405 2685
rect 425 1515 435 2685
rect 395 1505 435 1515
rect 495 2685 535 2695
rect 495 1515 505 2685
rect 525 1515 535 2685
rect 495 1505 535 1515
rect 595 2685 635 2695
rect 595 1515 605 2685
rect 625 1515 635 2685
rect 595 1505 635 1515
rect 695 2685 735 2695
rect 695 1515 705 2685
rect 725 1515 735 2685
rect 695 1505 735 1515
rect 775 2685 815 2695
rect 775 1515 785 2685
rect 805 1515 815 2685
rect 775 1505 815 1515
rect 875 2685 915 2695
rect 875 1515 885 2685
rect 905 1515 915 2685
rect 875 1505 915 1515
rect 935 1290 955 4505
rect 975 2825 995 5715
rect 1125 5695 1145 5725
rect 1015 5685 1055 5695
rect 1015 4515 1025 5685
rect 1045 4515 1055 5685
rect 1015 4505 1055 4515
rect 1115 5685 1155 5695
rect 1115 4515 1125 5685
rect 1145 4515 1155 5685
rect 1115 4505 1155 4515
rect 1065 4475 1105 4485
rect 1065 4455 1075 4475
rect 1095 4455 1105 4475
rect 1065 4450 1105 4455
rect 1075 4250 1095 4450
rect 1210 4345 1230 5820
rect 1290 5780 2650 5800
rect 1290 5770 1320 5780
rect 1280 5765 1320 5770
rect 1280 5745 1290 5765
rect 1310 5745 1320 5765
rect 1425 5745 1465 5750
rect 1280 5740 1320 5745
rect 1385 5725 1435 5745
rect 1455 5725 1465 5745
rect 1385 5695 1405 5725
rect 1425 5720 1465 5725
rect 1535 5745 1575 5755
rect 1535 5725 1545 5745
rect 1565 5725 1575 5745
rect 1535 5715 1575 5725
rect 2485 5745 2525 5750
rect 2485 5725 2495 5745
rect 2515 5725 2565 5745
rect 2485 5720 2565 5725
rect 1375 5685 1415 5695
rect 1375 4515 1385 5685
rect 1405 4515 1415 5685
rect 1375 4505 1415 4515
rect 1475 5685 1515 5695
rect 1475 4515 1485 5685
rect 1505 4515 1515 5685
rect 1475 4505 1515 4515
rect 1425 4475 1465 4485
rect 1425 4455 1435 4475
rect 1455 4455 1465 4475
rect 1425 4450 1465 4455
rect 1200 4340 1240 4345
rect 1200 4320 1210 4340
rect 1230 4320 1240 4340
rect 1200 4315 1240 4320
rect 1435 4250 1455 4450
rect 1065 4245 1105 4250
rect 1065 4225 1075 4245
rect 1095 4225 1105 4245
rect 1065 4215 1105 4225
rect 1425 4245 1465 4250
rect 1425 4225 1435 4245
rect 1455 4225 1465 4245
rect 1425 4215 1465 4225
rect 1015 4185 1055 4195
rect 1015 3015 1025 4185
rect 1045 3015 1055 4185
rect 1015 3005 1055 3015
rect 1115 4185 1155 4195
rect 1115 3015 1125 4185
rect 1145 3025 1155 4185
rect 1375 4185 1415 4195
rect 1375 3025 1385 4185
rect 1145 3015 1220 3025
rect 1115 3005 1220 3015
rect 975 2805 1045 2825
rect 1025 2695 1045 2805
rect 1015 2685 1055 2695
rect 1015 1515 1025 2685
rect 1045 1515 1055 2685
rect 1015 1505 1055 1515
rect 1115 2685 1155 2695
rect 1115 1515 1125 2685
rect 1145 1515 1155 2685
rect 1200 1955 1220 3005
rect 1175 1950 1220 1955
rect 1175 1930 1185 1950
rect 1210 1930 1220 1950
rect 1175 1925 1220 1930
rect 1310 3015 1385 3025
rect 1405 3015 1415 4185
rect 1310 3005 1415 3015
rect 1475 4185 1515 4195
rect 1475 3015 1485 4185
rect 1505 3015 1515 4185
rect 1475 3005 1515 3015
rect 1310 1955 1330 3005
rect 1535 2825 1555 5715
rect 2545 5695 2565 5720
rect 1795 5685 1835 5695
rect 1795 4525 1805 5685
rect 1485 2805 1555 2825
rect 1575 4515 1805 4525
rect 1825 4515 1835 5685
rect 1575 4505 1835 4515
rect 1895 5685 1935 5695
rect 1895 4515 1905 5685
rect 1925 4515 1935 5685
rect 1895 4505 1935 4515
rect 1995 5685 2035 5695
rect 1995 4515 2005 5685
rect 2025 4515 2035 5685
rect 1995 4505 2035 4515
rect 2095 5685 2135 5695
rect 2095 4515 2105 5685
rect 2125 4515 2135 5685
rect 2095 4505 2135 4515
rect 2195 5685 2235 5695
rect 2195 4515 2205 5685
rect 2225 4515 2235 5685
rect 2195 4505 2235 4515
rect 2335 5685 2375 5695
rect 2335 4515 2345 5685
rect 2365 4515 2375 5685
rect 2335 4505 2375 4515
rect 2435 5685 2475 5695
rect 2435 4515 2445 5685
rect 2465 4515 2475 5685
rect 2435 4505 2475 4515
rect 2535 5685 2625 5695
rect 2535 4515 2545 5685
rect 2565 4515 2590 5685
rect 2615 4515 2625 5685
rect 2535 4505 2625 4515
rect 1485 2695 1505 2805
rect 1375 2685 1415 2695
rect 1310 1950 1355 1955
rect 1310 1930 1320 1950
rect 1345 1930 1355 1950
rect 1310 1925 1355 1930
rect 1115 1505 1155 1515
rect 1375 1515 1385 2685
rect 1405 1515 1415 2685
rect 1375 1505 1415 1515
rect 1475 2685 1515 2695
rect 1475 1515 1485 2685
rect 1505 1515 1515 2685
rect 1475 1505 1515 1515
rect 1270 1295 1310 1305
rect 1270 1290 1280 1295
rect 935 1275 1280 1290
rect 1300 1290 1310 1295
rect 1575 1290 1595 4505
rect 2335 4295 2355 4505
rect 1725 4275 2465 4295
rect 1625 4245 1705 4250
rect 1625 4225 1675 4245
rect 1695 4225 1705 4245
rect 1625 4195 1645 4225
rect 1665 4215 1705 4225
rect 1725 4195 1745 4275
rect 1845 4245 1885 4250
rect 1805 4225 1855 4245
rect 1875 4225 1885 4245
rect 1805 4195 1825 4225
rect 1845 4215 1885 4225
rect 1905 4195 1925 4275
rect 2025 4245 2065 4250
rect 1985 4225 2035 4245
rect 2055 4225 2065 4245
rect 1985 4195 2005 4225
rect 2025 4215 2065 4225
rect 2085 4195 2105 4275
rect 2205 4245 2245 4250
rect 2165 4225 2215 4245
rect 2235 4225 2245 4245
rect 2165 4195 2185 4225
rect 2205 4215 2245 4225
rect 2265 4195 2285 4275
rect 2385 4245 2425 4250
rect 2345 4225 2395 4245
rect 2415 4225 2425 4245
rect 2345 4195 2365 4225
rect 2385 4215 2425 4225
rect 2445 4195 2465 4275
rect 2485 4245 2555 4250
rect 2485 4225 2495 4245
rect 2515 4225 2555 4245
rect 2485 4215 2555 4225
rect 2535 4195 2555 4215
rect 1615 4185 1655 4195
rect 1615 3015 1625 4185
rect 1645 3015 1655 4185
rect 1615 3005 1655 3015
rect 1715 4185 1755 4195
rect 1715 3015 1725 4185
rect 1745 3015 1755 4185
rect 1715 3005 1755 3015
rect 1795 4185 1835 4195
rect 1795 3015 1805 4185
rect 1825 3015 1835 4185
rect 1795 3005 1835 3015
rect 1895 4185 1935 4195
rect 1895 3015 1905 4185
rect 1925 3015 1935 4185
rect 1895 3005 1935 3015
rect 1975 4185 2015 4195
rect 1975 3015 1985 4185
rect 2005 3015 2015 4185
rect 1975 3005 2015 3015
rect 2075 4185 2115 4195
rect 2075 3015 2085 4185
rect 2105 3015 2115 4185
rect 2075 3005 2115 3015
rect 2155 4185 2195 4195
rect 2155 3015 2165 4185
rect 2185 3015 2195 4185
rect 2155 3005 2195 3015
rect 2255 4185 2295 4195
rect 2255 3015 2265 4185
rect 2285 3015 2295 4185
rect 2255 3005 2295 3015
rect 2335 4185 2375 4195
rect 2335 3015 2345 4185
rect 2365 3015 2375 4185
rect 2335 3005 2375 3015
rect 2435 4185 2475 4195
rect 2435 3015 2445 4185
rect 2465 3015 2475 4185
rect 2435 3005 2475 3015
rect 2535 4185 2625 4195
rect 2535 3015 2545 4185
rect 2565 3015 2590 4185
rect 2615 3015 2625 4185
rect 2535 3005 2625 3015
rect 1625 2695 1645 3005
rect 1805 2985 1825 3005
rect 1985 2985 2005 3005
rect 2165 2985 2185 3005
rect 2345 2985 2365 3005
rect 1805 2965 2365 2985
rect 2205 2695 2225 2965
rect 2385 2745 2460 2750
rect 2385 2720 2395 2745
rect 2415 2720 2460 2745
rect 2385 2715 2460 2720
rect 2485 2745 2555 2750
rect 2485 2720 2495 2745
rect 2515 2720 2555 2745
rect 2485 2715 2555 2720
rect 2440 2695 2460 2715
rect 2535 2695 2555 2715
rect 1615 2685 1655 2695
rect 1615 1515 1625 2685
rect 1645 1515 1655 2685
rect 1615 1505 1655 1515
rect 1715 2685 1755 2695
rect 1715 1515 1725 2685
rect 1745 1515 1755 2685
rect 1715 1505 1755 1515
rect 1795 2685 1835 2695
rect 1795 1515 1805 2685
rect 1825 1515 1835 2685
rect 1795 1505 1835 1515
rect 1895 2685 1935 2695
rect 1895 1515 1905 2685
rect 1925 1515 1935 2685
rect 1895 1505 1935 1515
rect 1995 2685 2035 2695
rect 1995 1515 2005 2685
rect 2025 1515 2035 2685
rect 1995 1505 2035 1515
rect 2095 2685 2135 2695
rect 2095 1515 2105 2685
rect 2125 1515 2135 2685
rect 2095 1505 2135 1515
rect 2195 2685 2235 2695
rect 2195 1515 2205 2685
rect 2225 1515 2235 2685
rect 2195 1505 2235 1515
rect 2335 2685 2375 2695
rect 2335 1515 2345 2685
rect 2365 1515 2375 2685
rect 2335 1505 2375 1515
rect 2435 2685 2475 2695
rect 2435 1515 2445 2685
rect 2465 1515 2475 2685
rect 2435 1505 2475 1515
rect 2535 2685 2625 2695
rect 2535 1515 2545 2685
rect 2565 1515 2590 2685
rect 2615 1515 2625 2685
rect 2535 1505 2625 1515
rect 1300 1275 1595 1290
rect 935 1270 1595 1275
rect 935 1250 955 1270
rect 1270 1265 1310 1270
rect 1575 1250 1595 1270
rect 5 1245 45 1250
rect -35 1220 15 1245
rect 35 1220 45 1245
rect -35 1195 -15 1220
rect 5 1215 45 1220
rect 105 1245 145 1250
rect 285 1245 325 1250
rect 465 1245 505 1250
rect 645 1245 685 1250
rect 825 1245 955 1250
rect 105 1220 115 1245
rect 135 1220 185 1245
rect 105 1215 145 1220
rect 165 1195 185 1220
rect 285 1220 295 1245
rect 315 1220 365 1245
rect 285 1215 325 1220
rect 345 1195 365 1220
rect 465 1220 475 1245
rect 495 1220 545 1245
rect 465 1215 505 1220
rect 525 1195 545 1220
rect 645 1220 655 1245
rect 675 1220 725 1245
rect 645 1215 685 1220
rect 705 1195 725 1220
rect 825 1220 835 1245
rect 855 1230 955 1245
rect 1065 1245 1105 1250
rect 855 1220 865 1230
rect 825 1215 865 1220
rect 1065 1220 1075 1245
rect 1095 1240 1105 1245
rect 1425 1245 1465 1250
rect 1425 1240 1435 1245
rect 1095 1220 1435 1240
rect 1455 1220 1465 1245
rect 1575 1245 1705 1250
rect 1845 1245 1885 1250
rect 2025 1245 2065 1250
rect 2205 1245 2245 1250
rect 2385 1245 2425 1250
rect 1575 1230 1675 1245
rect 1065 1215 1105 1220
rect 1125 1195 1145 1220
rect -95 1185 -5 1195
rect -95 15 -85 1185
rect -60 15 -35 1185
rect -15 15 -5 1185
rect -95 5 -5 15
rect 55 1185 95 1195
rect 55 15 65 1185
rect 85 15 95 1185
rect 55 5 95 15
rect 155 1185 195 1195
rect 155 15 165 1185
rect 185 15 195 1185
rect 155 5 195 15
rect 235 1185 275 1195
rect 235 15 245 1185
rect 265 15 275 1185
rect 235 5 275 15
rect 335 1185 375 1195
rect 335 15 345 1185
rect 365 15 375 1185
rect 335 5 375 15
rect 415 1185 455 1195
rect 415 15 425 1185
rect 445 15 455 1185
rect 415 5 455 15
rect 515 1185 555 1195
rect 515 15 525 1185
rect 545 15 555 1185
rect 515 5 555 15
rect 595 1185 635 1195
rect 595 15 605 1185
rect 625 15 635 1185
rect 595 5 635 15
rect 695 1185 735 1195
rect 695 15 705 1185
rect 725 15 735 1185
rect 695 5 735 15
rect 775 1185 815 1195
rect 775 15 785 1185
rect 805 15 815 1185
rect 775 5 815 15
rect 875 1185 915 1195
rect 875 15 885 1185
rect 905 15 915 1185
rect 875 5 915 15
rect 1015 1185 1055 1195
rect 1015 15 1025 1185
rect 1045 15 1055 1185
rect 1015 5 1055 15
rect 1115 1185 1155 1195
rect 1115 15 1125 1185
rect 1145 15 1155 1185
rect 1115 5 1155 15
rect 75 -15 95 5
rect 235 -15 255 5
rect 415 -15 435 5
rect 595 -15 615 5
rect 875 -15 895 5
rect 1015 -15 1035 5
rect 75 -35 1035 -15
rect 1225 -100 1245 1220
rect 1385 1195 1405 1220
rect 1425 1215 1465 1220
rect 1665 1220 1675 1230
rect 1695 1220 1705 1245
rect 1665 1215 1705 1220
rect 1805 1220 1855 1245
rect 1875 1220 1885 1245
rect 1805 1195 1825 1220
rect 1845 1215 1885 1220
rect 1985 1220 2035 1245
rect 2055 1220 2065 1245
rect 1985 1195 2005 1220
rect 2025 1215 2065 1220
rect 2165 1220 2215 1245
rect 2235 1220 2245 1245
rect 2165 1195 2185 1220
rect 2205 1215 2245 1220
rect 2345 1220 2395 1245
rect 2415 1220 2425 1245
rect 2345 1195 2365 1220
rect 2385 1215 2425 1220
rect 2485 1245 2525 1250
rect 2485 1220 2495 1245
rect 2515 1220 2565 1245
rect 2485 1215 2525 1220
rect 2545 1195 2565 1220
rect 1375 1185 1415 1195
rect 1270 1135 1310 1145
rect 1270 1115 1280 1135
rect 1300 1115 1310 1135
rect 1270 1105 1310 1115
rect 1275 -55 1295 1105
rect 1375 15 1385 1185
rect 1405 15 1415 1185
rect 1375 5 1415 15
rect 1475 1185 1515 1195
rect 1475 15 1485 1185
rect 1505 15 1515 1185
rect 1475 5 1515 15
rect 1615 1185 1655 1195
rect 1615 15 1625 1185
rect 1645 15 1655 1185
rect 1615 5 1655 15
rect 1715 1185 1755 1195
rect 1715 15 1725 1185
rect 1745 15 1755 1185
rect 1715 5 1755 15
rect 1795 1185 1835 1195
rect 1795 15 1805 1185
rect 1825 15 1835 1185
rect 1795 5 1835 15
rect 1895 1185 1935 1195
rect 1895 15 1905 1185
rect 1925 15 1935 1185
rect 1895 5 1935 15
rect 1975 1185 2015 1195
rect 1975 15 1985 1185
rect 2005 15 2015 1185
rect 1975 5 2015 15
rect 2075 1185 2115 1195
rect 2075 15 2085 1185
rect 2105 15 2115 1185
rect 2075 5 2115 15
rect 2155 1185 2195 1195
rect 2155 15 2165 1185
rect 2185 15 2195 1185
rect 2155 5 2195 15
rect 2255 1185 2295 1195
rect 2255 15 2265 1185
rect 2285 15 2295 1185
rect 2255 5 2295 15
rect 2335 1185 2375 1195
rect 2335 15 2345 1185
rect 2365 15 2375 1185
rect 2335 5 2375 15
rect 2435 1185 2475 1195
rect 2435 15 2445 1185
rect 2465 15 2475 1185
rect 2435 5 2475 15
rect 2535 1185 2625 1195
rect 2535 15 2545 1185
rect 2565 15 2590 1185
rect 2615 15 2625 1185
rect 2535 5 2625 15
rect 1495 -15 1515 5
rect 1635 -15 1655 5
rect 1915 -15 1935 5
rect 2095 -15 2115 5
rect 2275 -15 2295 5
rect 2435 -15 2455 5
rect 1495 -35 2455 -15
rect 1275 -75 2650 -55
rect 1225 -120 2650 -100
<< viali >>
rect -85 4515 -60 5685
rect -35 4515 -15 5685
rect 65 4515 85 5685
rect 305 4515 325 5685
rect -85 3015 -60 4185
rect -35 3015 -15 4185
rect -85 1515 -60 2685
rect -35 1515 -15 2685
rect 165 1515 185 2685
rect 705 1515 725 2685
rect 785 1515 805 2685
rect 1025 4515 1045 5685
rect 1485 4515 1505 5685
rect 1025 3015 1045 4185
rect 1125 1515 1145 2685
rect 1485 3015 1505 4185
rect 2205 4515 2225 5685
rect 2445 4515 2465 5685
rect 2545 4515 2565 5685
rect 2590 4515 2615 5685
rect 1385 1515 1405 2685
rect 2545 3015 2565 4185
rect 2590 3015 2615 4185
rect 1725 1515 1745 2685
rect 1805 1515 1825 2685
rect 2345 1515 2365 2685
rect 2545 1515 2565 2685
rect 2590 1515 2615 2685
rect -85 15 -60 1185
rect -35 15 -15 1185
rect 785 15 805 1185
rect 1725 15 1745 1185
rect 2545 15 2565 1185
rect 2590 15 2615 1185
<< metal1 >>
rect -120 5685 2650 5700
rect -120 4515 -85 5685
rect -60 4515 -35 5685
rect -15 4515 65 5685
rect 85 4515 305 5685
rect 325 4515 1025 5685
rect 1045 4515 1485 5685
rect 1505 4515 2205 5685
rect 2225 4515 2445 5685
rect 2465 4515 2545 5685
rect 2565 4515 2590 5685
rect 2615 4515 2650 5685
rect -120 4185 2650 4515
rect -120 3015 -85 4185
rect -60 3015 -35 4185
rect -15 3015 1025 4185
rect 1045 3015 1485 4185
rect 1505 3015 2545 4185
rect 2565 3015 2590 4185
rect 2615 3015 2650 4185
rect -120 3000 2650 3015
rect -120 2685 2650 2700
rect -120 1515 -85 2685
rect -60 1515 -35 2685
rect -15 1515 165 2685
rect 185 1515 705 2685
rect 725 1515 785 2685
rect 805 1515 1125 2685
rect 1145 1515 1385 2685
rect 1405 1515 1725 2685
rect 1745 1515 1805 2685
rect 1825 1515 2345 2685
rect 2365 1515 2545 2685
rect 2565 1515 2590 2685
rect 2615 1515 2650 2685
rect -120 1185 2650 1515
rect -120 15 -85 1185
rect -60 15 -35 1185
rect -15 15 785 1185
rect 805 15 1725 1185
rect 1745 15 2545 1185
rect 2565 15 2590 1185
rect 2615 15 2650 1185
rect -120 5 2650 15
rect -100 0 2650 5
<< labels >>
rlabel locali -120 2780 -120 2780 7 VB
port 1 w
rlabel metal1 -120 3015 -120 3015 7 VP
port 2 w
rlabel metal1 -120 2685 -120 2685 7 VN
port 3 w
rlabel locali 2650 5830 2650 5830 3 VCP
port 4 e
rlabel locali 2650 5790 2650 5790 3 VBP
port 5 e
rlabel locali 2650 -65 2650 -65 3 VBN
port 6 e
rlabel locali 2650 -110 2650 -110 3 VCN
port 7 e
<< end >>
